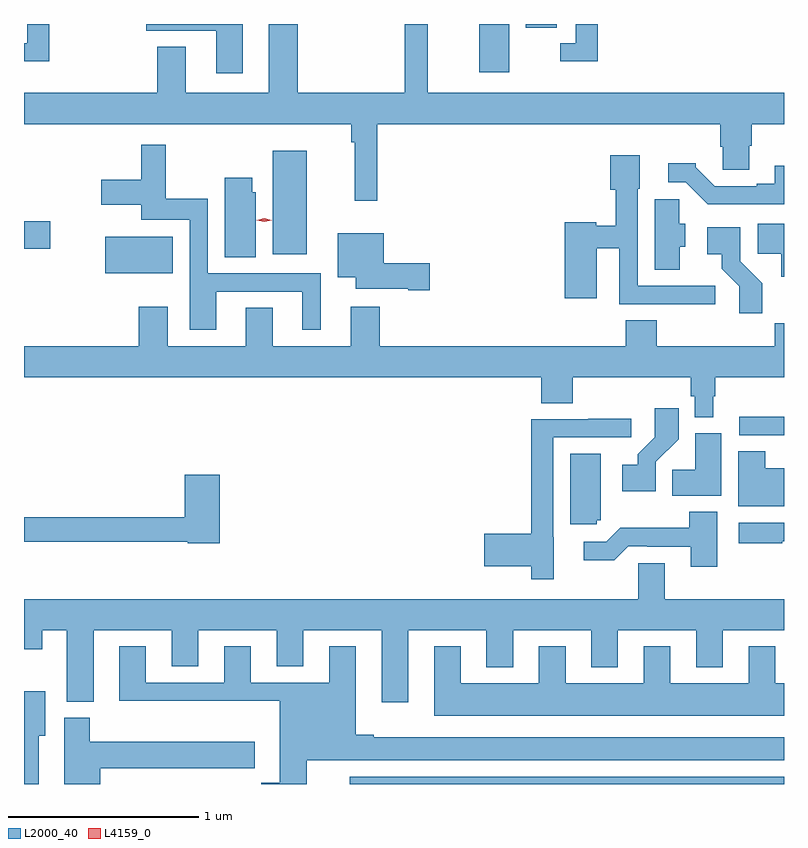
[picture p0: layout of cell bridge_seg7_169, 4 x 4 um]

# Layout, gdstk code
import gdstk
lib = gdstk.Library(unit=1e-6, precision=1e-09)
def R(c, l, rs):  # rectangles x0, y0, x1, y1
    for r in rs: c.add(gdstk.rectangle(r[:2], r[2:], *l))
def P(c, l, *ps):  # polygons
    for p in ps: c.add(gdstk.Polygon(p, *l))
L2000_40 = (2000, 40)
L4159_0 = (4159, 0)

bridge_seg7_169 = lib.new_cell('bridge_seg7_169')
R(bridge_seg7_169, L2000_40, [(457.019,1027.779,459.305,1027.816), (455.732,1030.466,456.088,1030.66), (456.614,1030.568,456.793,1031.113), (455.305,1030.595,455.443,1030.742), (457.7,1031.526,457.858,1031.779), (457.946,1031.76,458.11,1031.779)])
P(bridge_seg7_169, L2000_40, [(457.163,1031.252),(458.969,1031.252),(458.969,1031.132),(458.982,1031.132),(458.982,1031.011),(459.121,1031.011),(459.121,1031.138),(459.134,1031.138),(459.134,1031.252),(459.305,1031.252),(459.305,1031.416),(457.43,1031.416),(457.43,1031.779),(457.309,1031.779),(457.309,1031.416),(456.746,1031.416),(456.746,1031.779),(456.593,1031.779),(456.593,1031.416),(456.157,1031.416),(456.157,1031.659),(456.005,1031.659),(456.005,1031.416),(455.305,1031.416),(455.305,1031.252),(457.027,1031.252),(457.027,1031.156),(457.045,1031.156),(457.045,1030.848),(457.163,1030.848)],
  [(456.457,1031.779),(455.948,1031.779),(455.948,1031.744),(456.317,1031.744),(456.317,1031.52),(456.457,1031.52)],
  [(458.324,1031.779),(458.208,1031.779),(458.208,1031.679),(458.127,1031.679),(458.127,1031.582),(458.324,1031.582)],
  [(455.438,1031.779),(455.322,1031.779),(455.322,1031.679),(455.305,1031.679),(455.305,1031.582),(455.438,1031.582)],
  [(456.316,1030.371),(456.77,1030.371),(456.77,1030.17),(456.868,1030.17),(456.868,1030.467),(456.273,1030.467),(456.273,1030.858),(456.052,1030.858),(456.052,1031.143),(455.923,1031.143),(455.923,1030.959),(455.712,1030.959),(455.712,1030.829),(455.923,1030.829),(455.923,1030.749),(456.177,1030.749),(456.177,1030.17),(456.316,1030.17)],
  [(458.944,1030.401),(458.535,1030.401),(458.535,1030.911),(458.545,1030.911),(458.545,1031.089),(458.39,1031.089),(458.39,1030.907),(458.419,1030.907),(458.419,1030.718),(458.316,1030.718),(458.316,1030.736),(458.15,1030.736),(458.15,1030.335),(458.32,1030.335),(458.32,1030.6),(458.439,1030.6),(458.439,1030.305),(458.719,1030.305),(458.719,1030.303),(458.944,1030.303)],
  [(459.305,1031.032),(459.257,1031.032),(459.257,1030.939),(459.161,1030.939),(459.161,1030.926),(458.94,1030.926),(458.841,1031.025),(458.841,1031.045),(458.697,1031.045),(458.697,1030.947),(458.787,1030.947),(458.904,1030.83),(459.305,1030.83)],
  [(456.526,1030.893),(456.505,1030.893),(456.505,1030.969),(456.362,1030.969),(456.362,1030.552),(456.526,1030.552)],
  [(458.755,1030.607),(458.785,1030.607),(458.785,1030.729),(458.753,1030.729),(458.753,1030.857),(458.624,1030.857),(458.624,1030.486),(458.755,1030.486)],
  [(459.305,1030.729),(459.168,1030.729),(459.168,1030.569),(459.29,1030.569),(459.29,1030.449),(459.305,1030.449)],
  [(459.19,1030.415),(459.075,1030.53),(459.075,1030.708),(458.901,1030.708),(458.901,1030.568),(458.977,1030.568),(458.977,1030.49),(459.069,1030.399),(459.069,1030.256),(459.19,1030.256)],
  [(457.441,1030.52),(457.198,1030.52),(457.198,1030.678),(456.956,1030.678),(456.956,1030.445),(457.052,1030.445),(457.052,1030.385),(457.328,1030.385),(457.328,1030.378),(457.441,1030.378)],
  [(458.027,1029.784),(458.192,1029.784),(458.192,1029.92),(458.815,1029.92),(458.815,1029.819),(458.835,1029.819),(458.835,1029.71),(458.932,1029.71),(458.932,1029.819),(458.944,1029.819),(458.944,1029.92),(459.305,1029.92),(459.305,1030.204),(459.257,1030.204),(459.257,1030.084),(458.636,1030.084),(458.636,1030.22),(458.471,1030.22),(458.471,1030.084),(457.178,1030.084),(457.178,1030.291),(457.025,1030.291),(457.025,1030.084),(456.613,1030.084),(456.613,1030.286),(456.473,1030.286),(456.473,1030.084),(456.061,1030.084),(456.061,1030.291),(455.909,1030.291),(455.909,1030.084),(455.305,1030.084),(455.305,1029.92),(458.027,1029.92)],
  [(458.631,1029.475),(458.75,1029.594),(458.75,1029.757),(458.625,1029.757),(458.625,1029.605),(458.534,1029.515),(458.534,1029.46),(458.454,1029.46),(458.454,1029.32),(458.631,1029.32)],
  [(459.305,1029.711),(459.296,1029.711),(459.296,1029.713),(459.069,1029.713),(459.069,1029.615),(459.305,1029.615)],
  [(458.092,1029.078),(458.091,1029.078),(458.091,1029.603),(458.5,1029.603),(458.5,1029.702),(458.275,1029.702),(458.275,1029.699),(457.975,1029.699),(457.975,1029.095),(457.728,1029.095),(457.728,1028.924),(457.975,1028.924),(457.975,1028.856),(458.092,1028.856)],
  [(458.974,1029.625),(458.837,1029.625),(458.837,1029.434),(458.716,1029.434),(458.716,1029.296),(458.974,1029.296)],
  [(459.305,1029.442),(459.207,1029.442),(459.207,1029.53),(459.065,1029.53),(459.065,1029.242),(459.305,1029.242)],
  [(458.319,1029.168),(458.341,1029.168),(458.341,1029.517),(458.18,1029.517),(458.18,1029.147),(458.319,1029.147)],
  [(456.335,1029.406),(456.152,1029.406),(456.152,1029.182),(455.305,1029.182),(455.305,1029.054),(456.168,1029.054),(456.168,1029.046),(456.335,1029.046)],
  [(458.953,1029.211),(458.806,1029.211),(458.806,1029.127),(458.443,1029.127),(458.37,1029.054),(458.25,1029.054),(458.25,1028.957),(458.411,1028.957),(458.484,1029.03),(458.584,1029.03),(458.584,1029.027),(458.813,1029.027),(458.813,1028.922),(458.953,1028.922)],
  [(459.296,1029.057),(459.305,1029.057),(459.305,1029.153),(459.066,1029.153),(459.066,1029.045),(459.296,1029.045)],
  [(457.327,1028.588),(457.739,1028.588),(457.739,1028.394),(457.879,1028.394),(457.879,1028.588),(458.291,1028.588),(458.291,1028.394),(458.431,1028.394),(458.431,1028.588),(458.843,1028.588),(458.843,1028.394),(458.983,1028.394),(458.983,1028.588),(459.305,1028.588),(459.305,1028.752),(458.677,1028.752),(458.677,1028.942),(458.538,1028.942),(458.538,1028.752),(455.305,1028.752),(455.305,1028.489),(455.401,1028.489),(455.401,1028.588),(455.531,1028.588),(455.531,1028.212),(455.671,1028.212),(455.671,1028.588),(456.083,1028.588),(456.083,1028.398),(456.223,1028.398),(456.223,1028.588),(456.635,1028.588),(456.635,1028.398),(456.775,1028.398),(456.775,1028.588),(457.187,1028.588),(457.187,1028.208),(457.327,1028.208)],
  [(456.793,1027.904),(459.305,1027.904),(459.305,1028.026),(457.147,1028.026),(457.147,1028.039),(457.051,1028.039),(457.051,1028.503),(456.911,1028.503),(456.911,1028.313),(456.499,1028.313),(456.499,1028.503),(456.359,1028.503),(456.359,1028.313),(455.947,1028.313),(455.947,1028.503),(455.807,1028.503),(455.807,1028.216),(456.65,1028.216),(456.65,1027.786),(456.554,1027.786),(456.554,1027.779),(456.793,1027.779)],
  [(459.305,1028.308),(459.259,1028.308),(459.259,1028.503),(459.119,1028.503),(459.119,1028.308),(458.707,1028.308),(458.707,1028.503),(458.567,1028.503),(458.567,1028.308),(458.155,1028.308),(458.155,1028.503),(458.015,1028.503),(458.015,1028.308),(457.603,1028.308),(457.603,1028.503),(457.463,1028.503),(457.463,1028.138),(459.305,1028.138)],
  [(455.383,1028.033),(455.416,1028.033),(455.416,1028.268),(455.305,1028.268),(455.305,1027.779),(455.383,1027.779)],
  [(455.707,1027.862),(456.52,1027.862),(456.52,1028.002),(455.651,1028.002),(455.651,1028.127),(455.516,1028.127),(455.516,1027.779),(455.707,1027.779)])
P(bridge_seg7_169, L4159_0, [(456.57,1030.737),(456.531,1030.747),(456.53,1030.747),(456.531,1030.747),(456.57,1030.757),(456.609,1030.747),(456.61,1030.747),(456.609,1030.747)])

lib.write_gds('bridge_seg7_169.gds')
